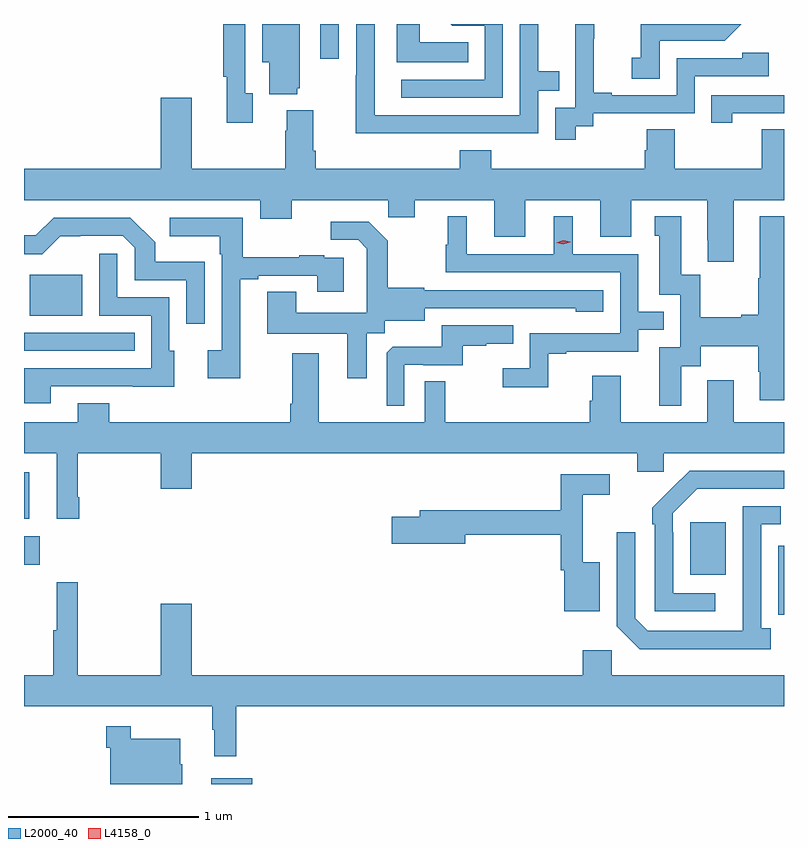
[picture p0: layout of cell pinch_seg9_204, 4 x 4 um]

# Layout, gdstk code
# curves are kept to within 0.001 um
import gdstk
lib = gdstk.Library(unit=1e-6, precision=1e-09)
def R(c, l, rs):  # rectangles x0, y0, x1, y1
    for r in rs: c.add(gdstk.rectangle(r[:2], r[2:], *l))
def P(c, l, *ps):  # polygons
    for p in ps: c.add(gdstk.Polygon(p, *l))
L2000_40 = (2000, 40)
L4158_0 = (4158, 0)

pinch_seg9_204 = lib.new_cell('pinch_seg9_204')
R(pinch_seg9_204, L2000_40, [(596.843,1235.971,597.058,1236.001), (599.363,1237.073,599.551,1237.348), (595.857,1237.124,595.939,1237.276), (595.857,1237.367,595.885,1237.612), (595.857,1238.25,596.441,1238.346), (595.886,1238.435,596.164,1238.65), (597.417,1239.789,597.513,1239.971)])
P(pinch_seg9_204, L2000_40, [(598.196,1239.874),(597.939,1239.874),(597.939,1239.971),(597.818,1239.971),(597.818,1239.77),(598.196,1239.77)],
  [(598.762,1239.433),(598.854,1239.433),(598.854,1239.501),(599.388,1239.501),(599.388,1239.696),(599.777,1239.696),(599.777,1239.819),(599.637,1239.819),(599.637,1239.792),(599.292,1239.792),(599.292,1239.597),(598.951,1239.597),(598.951,1239.61),(598.856,1239.61),(598.856,1239.893),(598.857,1239.893),(598.857,1239.971),(598.757,1239.971),(598.757,1239.761),(598.758,1239.761),(598.758,1239.531),(598.653,1239.531),(598.653,1239.363),(598.762,1239.363)],
  [(598.067,1239.396),(598.563,1239.396),(598.563,1239.621),(598.673,1239.621),(598.673,1239.722),(598.563,1239.722),(598.563,1239.971),(598.467,1239.971),(598.467,1239.492),(597.702,1239.492),(597.702,1239.971),(597.606,1239.971),(597.606,1239.701),(597.604,1239.701),(597.604,1239.395),(598.067,1239.395)],
  [(599.202,1239.882),(599.544,1239.882),(599.633,1239.971),(599.104,1239.971),(599.104,1239.793),(599.055,1239.793),(599.055,1239.684),(599.202,1239.684)],
  [(598.377,1239.971),(598.104,1239.971),(598.112,1239.963),(598.281,1239.963),(598.281,1239.678),(597.843,1239.678),(597.843,1239.582),(598.377,1239.582)],
  [(597.061,1239.606),(597.021,1239.606),(597.021,1239.971),(596.905,1239.971),(596.905,1239.694),(596.924,1239.694),(596.924,1239.45),(597.061,1239.45)],
  [(597.296,1239.633),(597.307,1239.633),(597.307,1239.971),(597.11,1239.971),(597.11,1239.77),(597.149,1239.77),(597.149,1239.602),(597.296,1239.602)],
  [(599.584,1239.501),(599.857,1239.501),(599.857,1239.597),(599.473,1239.597),(599.473,1239.45),(599.584,1239.45)],
  [(599.593,1239.044),(599.857,1239.044),(599.857,1239.416),(599.74,1239.416),(599.74,1239.208),(599.283,1239.208),(599.283,1239.416),(599.135,1239.416),(599.135,1239.306),(599.123,1239.306),(599.123,1239.208),(598.316,1239.208),(598.316,1239.307),(598.151,1239.307),(598.151,1239.208),(597.392,1239.208),(597.392,1239.304),(597.379,1239.304),(597.379,1239.517),(597.239,1239.517),(597.239,1239.41),(597.232,1239.41),(597.232,1239.208),(596.74,1239.208),(596.74,1239.583),(596.576,1239.583),(596.576,1239.208),(595.857,1239.208),(595.857,1239.044),(597.101,1239.044),(597.101,1238.945),(597.265,1238.945),(597.265,1239.044),(597.775,1239.044),(597.775,1238.954),(597.913,1238.954),(597.913,1239.044),(598.331,1239.044),(598.331,1238.85),(598.495,1238.85),(598.495,1239.044),(598.889,1239.044),(598.889,1238.85),(599.053,1238.85),(599.053,1239.044),(599.453,1239.044),(599.453,1238.833),(599.456,1238.833),(599.456,1238.721),(599.593,1238.721)],
  [(599.317,1238.17),(599.419,1238.17),(599.419,1238.276),(599.722,1238.276),(599.722,1238.142),(599.729,1238.142),(599.729,1237.992),(599.857,1237.992),(599.857,1238.959),(599.729,1238.959),(599.729,1238.633),(599.722,1238.633),(599.722,1238.441),(599.633,1238.441),(599.633,1238.428),(599.415,1238.428),(599.415,1238.651),(599.317,1238.651),(599.317,1238.959),(599.177,1238.959),(599.177,1238.856),(599.201,1238.856),(599.201,1238.547),(599.31,1238.547),(599.31,1238.271),(599.201,1238.271),(599.201,1237.962),(599.317,1237.962)],
  [(598.617,1238.235),(598.711,1238.235),(598.711,1238.247),(599.091,1238.247),(599.091,1238.361),(599.225,1238.361),(599.225,1238.457),(599.091,1238.457),(599.091,1238.76),(598.744,1238.76),(598.744,1238.959),(598.646,1238.959),(598.646,1238.76),(598.186,1238.76),(598.186,1238.959),(598.088,1238.959),(598.088,1238.808),(598.077,1238.808),(598.077,1238.664),(598.995,1238.664),(598.995,1238.343),(598.518,1238.343),(598.518,1238.158),(598.377,1238.158),(598.377,1238.06),(598.617,1238.06)],
  [(596.808,1238.719),(596.547,1238.719),(596.547,1238.822),(596.416,1238.952),(596.013,1238.952),(595.919,1238.858),(595.857,1238.858),(595.857,1238.76),(595.953,1238.76),(596.048,1238.855),(596.376,1238.856),(596.439,1238.793),(596.439,1238.622),(596.712,1238.622),(596.712,1238.394),(596.808,1238.394)],
  [(596.995,1238.628),(597.091,1238.628),(597.091,1238.646),(597.401,1238.646),(597.401,1238.562),(597.541,1238.562),(597.541,1238.742),(597.437,1238.742),(597.437,1238.755),(597.305,1238.755),(597.305,1238.744),(597.007,1238.744),(597.007,1238.952),(596.625,1238.952),(596.625,1238.855),(596.886,1238.855),(596.886,1238.759),(596.898,1238.759),(596.898,1238.254),(596.823,1238.254),(596.823,1238.106),(596.995,1238.106)],
  [(597.661,1238.344),(597.756,1238.344),(597.756,1238.408),(597.967,1238.408),(597.967,1238.475),(598.761,1238.474),(598.761,1238.456),(598.906,1238.456),(598.906,1238.571),(597.963,1238.571),(597.963,1238.584),(597.771,1238.584),(597.771,1238.829),(597.671,1238.929),(597.471,1238.929),(597.471,1238.835),(597.615,1238.835),(597.662,1238.788),(597.662,1238.693),(597.66,1238.693),(597.66,1238.452),(597.289,1238.452),(597.289,1238.561),(597.137,1238.561),(597.137,1238.342),(597.557,1238.342),(597.557,1238.106),(597.661,1238.106)],
  [(595.999,1238.064),(596.429,1238.064),(596.429,1238.063),(596.647,1238.063),(596.647,1238.25),(596.622,1238.25),(596.622,1238.532),(596.349,1238.532),(596.349,1238.761),(596.253,1238.761),(596.253,1238.436),(596.526,1238.436),(596.526,1238.16),(595.859,1238.16),(595.859,1237.974),(595.999,1237.974)],
  [(597.858,1238.178),(597.958,1238.178),(597.958,1238.175),(598.166,1238.175),(598.166,1238.277),(598.289,1238.277),(598.289,1238.288),(598.433,1238.288),(598.433,1238.385),(598.056,1238.385),(598.056,1238.273),(597.797,1238.273),(597.765,1238.241),(597.765,1237.961),(597.858,1237.961)],
  [(596.147,1237.48),(596.14,1237.48),(596.14,1237.712),(596.576,1237.712),(596.576,1237.524),(596.74,1237.524),(596.74,1237.712),(599.084,1237.712),(599.084,1237.614),(599.223,1237.614),(599.223,1237.712),(599.857,1237.712),(599.857,1237.876),(599.593,1237.876),(599.593,1238.095),(599.453,1238.095),(599.453,1237.876),(598.999,1237.876),(598.999,1238.119),(598.847,1238.119),(598.847,1237.989),(598.835,1237.989),(598.835,1237.876),(598.075,1237.876),(598.075,1238.09),(597.966,1238.09),(597.966,1237.876),(597.409,1237.876),(597.409,1238.239),(597.269,1238.239),(597.269,1237.972),(597.257,1237.972),(597.257,1237.876),(596.305,1237.876),(596.305,1237.975),(596.141,1237.975),(596.141,1237.876),(595.857,1237.876),(595.857,1237.712),(596.03,1237.712),(596.03,1237.368),(596.147,1237.368)],
  [(599.494,1236.975),(599.274,1236.975),(599.274,1237.295),(599.271,1237.295),(599.271,1237.395),(599.4,1237.524),(599.857,1237.524),(599.857,1237.62),(599.36,1237.62),(599.163,1237.425),(599.163,1237.337),(599.178,1237.337),(599.178,1236.879),(599.494,1236.879)],
  [(598.888,1237.138),(598.799,1237.138),(598.799,1237.494),(598.939,1237.494),(598.939,1237.602),(598.681,1237.602),(598.681,1237.411),(597.941,1237.411),(597.941,1237.377),(597.792,1237.377),(597.792,1237.235),(598.18,1237.235),(598.18,1237.282),(598.681,1237.282),(598.681,1237.095),(598.7,1237.095),(598.7,1236.881),(598.888,1236.881)],
  [(599.788,1236.79),(599.736,1236.79),(599.736,1237.338),(599.839,1237.338),(599.839,1237.434),(599.64,1237.434),(599.639,1236.777),(599.139,1236.777),(599.073,1236.843),(599.073,1237.297),(598.977,1237.297),(598.977,1236.801),(599.098,1236.68),(599.788,1236.68)],
  [(599.857,1237.225),(599.826,1237.225),(599.826,1236.97),(599.827,1236.97),(599.827,1236.861),(599.857,1236.861)],
  [(596.975,1236.38),(599.857,1236.38),(599.857,1236.544),(598.95,1236.544),(598.95,1236.676),(598.799,1236.676),(598.799,1236.544),(596.74,1236.544),(596.74,1236.919),(596.576,1236.919),(596.576,1236.544),(596.14,1236.544),(596.14,1237.033),(596.03,1237.033),(596.03,1236.78),(596.011,1236.78),(596.011,1236.544),(595.857,1236.544),(595.857,1236.38),(596.847,1236.38),(596.847,1236.257),(596.858,1236.257),(596.858,1236.117),(596.975,1236.117)],
  [(596.689,1236.075),(596.68,1236.075),(596.68,1236.208),(596.419,1236.208),(596.419,1236.274),(596.29,1236.274),(596.29,1236.161),(596.31,1236.161),(596.31,1235.971),(596.689,1235.971)])
P(pinch_seg9_204, L4158_0, [(598.695,1238.812),(598.659,1238.821),(598.659,1238.821),(598.659,1238.821),(598.695,1238.832),(598.731,1238.824),(598.731,1238.823),(598.731,1238.823)])

lib.write_gds('pinch_seg9_204.gds')
